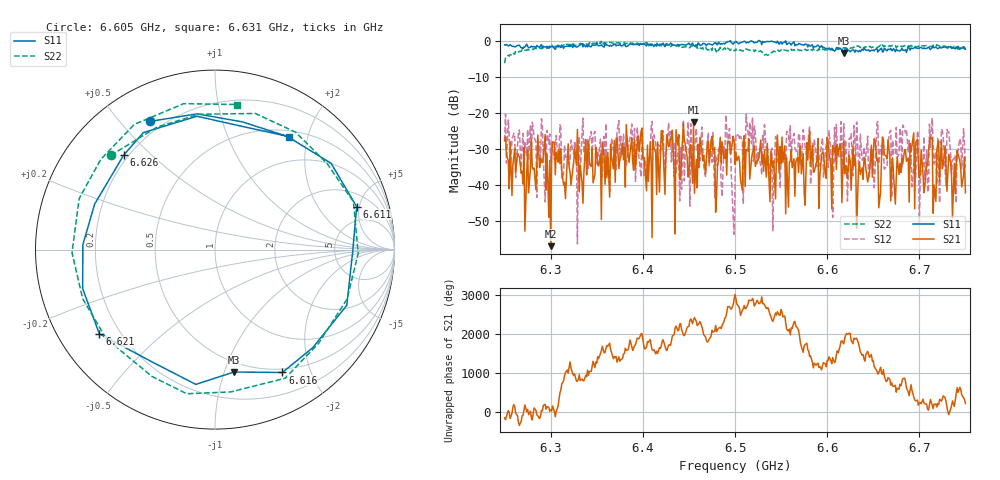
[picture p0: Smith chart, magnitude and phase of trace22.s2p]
# Hz S RI R 50
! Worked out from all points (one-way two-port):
!   401 points, 6.25 GHz to 6.75 GHz, reference 50 ohm
!   highest |S21| = -22.62 dB at 6.455 GHz (marker M1); lowest = -57.1 dB at 6.3 GHz (marker M2)
!   lowest |S11| = -3.2 dB at 6.618 GHz (marker M3), VSWR 5.46, Z = 20.7 - j53.9 ohm
!   |S11| at or under -10 dB: nowhere
!   |S22| runs from -6.1 to 0.0 dB; largest |S21 - S12| = 0.14
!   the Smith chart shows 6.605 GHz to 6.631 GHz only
!   S11 on the Smith chart (normalised r, x): 6.605 GHz: 0.15, +0.60; 6.611 GHz: 3.15, +4.71; 6.616 GHz: 0.45, -1.59; 6.621 GHz: 0.12, -0.32; 6.626 GHz: 0.18, +0.41; 6.631 GHz: 0.59, +1.69
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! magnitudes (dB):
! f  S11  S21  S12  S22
! 6.25 GHz  -1.0  -27.7  -27.6  -6.1
! 6.3 GHz  -1.5  -57.1  -33.4  -1.4
! 6.304 GHz  -2.0  -28.2  -33.0  -1.6
! 6.334 GHz  -0.7  -39.2  -26.2  -0.8
! 6.418 GHz  -1.2  -42.0  -29.1  -0.8
! 6.455 GHz  -1.1  -22.6  -29.1  -1.7
! 6.484 GHz  -0.8  -26.8  -29.3  -1.7
! 6.492 GHz  -0.1  -28.1  -28.6  -1.9
! 6.5 GHz  -0.2  -34.3  -41.1  -2.6
! 6.504 GHz  -0.7  -32.0  -26.3  -2.4
! 6.515 GHz  -0.4  -27.1  -28.9  -2.4
! 6.54 GHz  0.0  -33.0  -29.7  -3.2
! 6.584 GHz  -1.0  -29.1  -28.4  -2.5
! 6.605 GHz  -1.9  -46.7  -33.4  -2.1
! 6.611 GHz  -1.7  -28.8  -29.2  -2.1
! 6.616 GHz  -2.2  -45.0  -34.7  -2.2
! 6.618 GHz  -3.2  -27.9  -23.0  -1.8
! 6.621 GHz  -2.0  -35.0  -32.4  -2.1
! 6.626 GHz  -2.7  -41.5  -25.8  -1.8
! 6.631 GHz  -2.5  -34.0  -31.9  -1.8
! 6.668 GHz  -2.3  -32.1  -25.2  -1.2
! 6.75 GHz  -2.2  -42.2  -35.2  -2.1
